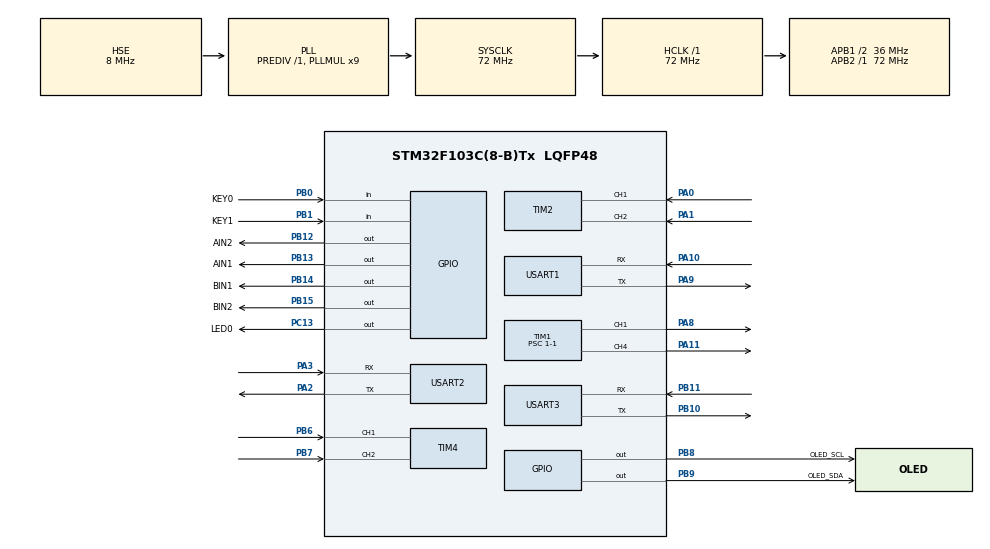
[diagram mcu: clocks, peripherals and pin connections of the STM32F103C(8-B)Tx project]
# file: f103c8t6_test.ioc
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Mcu.Family=STM32F1
Mcu.Name=STM32F103C(8-B)Tx
Mcu.Package=LQFP48
NVIC.PriorityGroup=NVIC_PRIORITYGROUP_2
NVIC.TIM2_IRQn=true\:3\:0\:true\:false\:true\:true\:true\:true
NVIC.TIM3_IRQn=true\:1\:0\:true\:false\:true\:true\:true\:true
NVIC.TIM4_IRQn=true\:3\:0\:true\:false\:true\:true\:true\:true
NVIC.USART1_IRQn=true\:2\:0\:true\:false\:true\:true\:true\:true
NVIC.USART2_IRQn=true\:2\:0\:true\:false\:true\:true\:true\:true
NVIC.USART3_IRQn=true\:2\:0\:true\:false\:true\:true\:true\:true
PA0-WKUP.GPIO_PuPd=GPIO_NOPULL
PA0-WKUP.Signal=S_TIM2_CH1_ETR
PA1.Signal=S_TIM2_CH2
PA10.Mode=Asynchronous
PA10.Signal=USART1_RX
PA11.Signal=S_TIM1_CH4
PA13.Mode=Serial_Wire
PA13.Signal=SYS_JTMS-SWDIO
PA14.Mode=Serial_Wire
PA14.Signal=SYS_JTCK-SWCLK
PA2.Mode=Asynchronous
PA2.Signal=USART2_TX
PA3.Mode=Asynchronous
PA3.Signal=USART2_RX
PA8.Signal=S_TIM1_CH1
PA9.Mode=Asynchronous
PA9.Signal=USART1_TX
PB0.GPIO_Label=KEY0
PB0.GPIO_PuPd=GPIO_PULLUP
PB0.Signal=GPIO_Input
PB1.GPIO_Label=KEY1
PB1.GPIO_PuPd=GPIO_PULLUP
PB1.Signal=GPIO_Input
PB10.Mode=Asynchronous
PB10.Signal=USART3_TX
PB11.Mode=Asynchronous
PB11.Signal=USART3_RX
PB12.GPIO_Label=AIN2
PB12.Signal=GPIO_Output
PB13.GPIO_Label=AIN1
PB13.Signal=GPIO_Output
PB14.GPIO_Label=BIN1
PB14.Signal=GPIO_Output
PB15.GPIO_Label=BIN2
PB15.Signal=GPIO_Output
PB6.Signal=S_TIM4_CH1
PB7.Signal=S_TIM4_CH2
PB8.GPIO_Label=OLED_SCL
PB8.GPIO_ModeDefaultOutputPP=GPIO_MODE_OUTPUT_OD
PB8.GPIO_PuPd=GPIO_NOPULL
PB8.GPIO_Speed=GPIO_SPEED_FREQ_HIGH
PB8.PinState=GPIO_PIN_RESET
PB8.Signal=GPIO_Output
PB9.GPIO_Label=OLED_SDA
PB9.GPIO_ModeDefaultOutputPP=GPIO_MODE_OUTPUT_OD
PB9.GPIO_PuPd=GPIO_NOPULL
PB9.Signal=GPIO_Output
PC13-TAMPER-RTC.GPIO_Label=LED0
PC13-TAMPER-RTC.PinState=GPIO_PIN_SET
PC13-TAMPER-RTC.Signal=GPIO_Output
PD0-OSC_IN.Mode=HSE-External-Oscillator
PD0-OSC_IN.Signal=RCC_OSC_IN
PD1-OSC_OUT.Mode=HSE-External-Oscillator
PD1-OSC_OUT.Signal=RCC_OSC_OUT
ProjectManager.HeapSize=0x200
ProjectManager.StackSize=0x400
ProjectManager.TargetToolchain=MDK-ARM V5.32
RCC.AHBFreq_Value=72000000
RCC.APB1CLKDivider=RCC_HCLK_DIV2
RCC.APB1Freq_Value=36000000
RCC.APB1TimFreq_Value=72000000
RCC.APB2Freq_Value=72000000
RCC.APB2TimFreq_Value=72000000
RCC.HCLKFreq_Value=72000000
RCC.PLLMUL=RCC_PLL_MUL9
RCC.PLLSourceVirtual=RCC_PLLSOURCE_HSE
RCC.SYSCLKFreq_VALUE=72000000
RCC.SYSCLKSource=RCC_SYSCLKSOURCE_PLLCLK
RCC.USBFreq_Value=72000000
SH.S_TIM1_CH1.0=TIM1_CH1,PWM Generation1 CH1
SH.S_TIM1_CH4.0=TIM1_CH4,PWM Generation4 CH4
SH.S_TIM2_CH1_ETR.0=TIM2_CH1,Encoder_Interface
SH.S_TIM2_CH2.0=TIM2_CH2,Encoder_Interface
SH.S_TIM4_CH1.0=TIM4_CH1,Encoder_Interface
SH.S_TIM4_CH2.0=TIM4_CH2,Encoder_Interface
TIM1.AutoReloadPreload=TIM_AUTORELOAD_PRELOAD_ENABLE
TIM1.Channel-PWM\ Generation1\ CH1=TIM_CHANNEL_1
TIM1.Channel-PWM\ Generation4\ CH4=TIM_CHANNEL_4
TIM1.Period=7200-1
TIM1.Prescaler=1-1
TIM2.EncoderMode=TIM_ENCODERMODE_TI12
TIM3.Period=200-1
TIM3.Prescaler=7200-1
TIM4.EncoderMode=TIM_ENCODERMODE_TI12
USART1.VirtualMode=VM_ASYNC
USART2.VirtualMode=VM_ASYNC
USART3.VirtualMode=VM_ASYNC
VP_TIM3_VS_ClockSourceINT.Mode=Internal
board=custom

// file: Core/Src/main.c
/* USER CODE BEGIN Header */
/**
  ******************************************************************************
  * @file           : main.c
  * @brief          : Main program body
  ******************************************************************************
  * @attention
  *
  * Copyright (c) 2024 STMicroelectronics.
  * All rights reserved.
  *
  * This software is licensed under terms that can be found in the LICENSE file
  * in the root directory of this software component.
  * If no LICENSE file comes with this software, it is provided AS-IS.
  *
  ******************************************************************************
  */
/* USER CODE END Header */
#include "main.h"
#include "tim.h"
#include "usart.h"
#include "gpio.h"

/* USER CODE BEGIN Includes */
#include "oled.h"
#include "bmp.h"
#include "encoder.h"
#include "motor.h"
#include "pid.h"
#include "control.h"

/* USER CODE END Includes */

/* USER CODE BEGIN PM */
uint8_t oledstring[50];
uint8_t usart1string[50];

/* USER CODE END PM */

void SystemClock_Config(void);

int main(void)
{

  /* MCU Configuration--------------------------------------------------------*/

  /* Reset of all peripherals, Initializes the Flash interface and the Systick. */
  HAL_Init();

  /* Configure the system clock */
  SystemClock_Config();

  /* Initialize all configured peripherals */
  MX_GPIO_Init();
  MX_TIM1_Init();
  MX_TIM2_Init();
  MX_TIM4_Init();
  MX_TIM3_Init();
  MX_USART1_UART_Init();
  MX_USART2_UART_Init();
  MX_USART3_UART_Init();
  /* USER CODE BEGIN 2 */

  HAL_TIM_Encoder_Start(&htim2,TIM_CHANNEL_ALL);//开启定时器2 编码器模式
  HAL_TIM_Encoder_Start(&htim4,TIM_CHANNEL_ALL);//开启定时器4 编码器模式
  HAL_TIM_Base_Start_IT(&htim2);                //开启定时器2 中断
  HAL_TIM_Base_Start_IT(&htim4);                //开启定时器4 中断

  set_motor1_enable();
  set_motor2_enable();

  HAL_TIM_PWM_Start(&htim1,TIM_CHANNEL_4);//开启定时器1 通道4 PWM输出
  HAL_TIM_PWM_Start(&htim1,TIM_CHANNEL_1);//开启定时器1 通道1 PWM输出

  HAL_TIM_Base_Start_IT(&htim3); //开启定时器3中断

  OLED_Init(); //OLED初始化
  OLED_ColorTurn(0);//0正常显示，1 反色显示
  OLED_DisplayTurn(0);//0正常显示 1 屏幕翻转显示

  g_motor1_pwm = 7000;
  g_motor2_pwm = 7000;
  limit_motor_pwm(&g_motor1_pwm,&g_motor2_pwm);
  load_motor_pwm(g_motor1_pwm,g_motor2_pwm);

  /* USER CODE END 2 */

  /* Infinite loop */
  /* USER CODE BEGIN WHILE */
  while (1)
  {
      sprintf((char *)oledstring,"motor1:%d",g_unittime_motor1pluse);//显示单位时间脉冲数
      OLED_ShowString(0,0,oledstring,8,1);  //显示在OLED上
      sprintf((char *)oledstring,"jour1:%.2f",g_motor1_journey_cm);//显示总里程数
      OLED_ShowString(0,8,oledstring,8,1);  //显示在OLED上

      sprintf((char *)oledstring,"motor2:%d",g_unittime_motor2pluse);//显示单位时间脉冲数
      OLED_ShowString(0,16,oledstring,8,1);  //显示在OLED上
      sprintf((char *)oledstring,"jour2:%.2f",g_motor2_journey_cm);//显示总里程数
      OLED_ShowString(0,24,oledstring,8,1);  //显示在OLED上

      OLED_Refresh();

      HAL_Delay(20);

      HAL_GPIO_TogglePin(LED0_GPIO_Port,LED0_Pin);
    /* USER CODE END WHILE */

  }
}

void SystemClock_Config(void)
{
  RCC_OscInitTypeDef RCC_OscInitStruct = {0};
  RCC_ClkInitTypeDef RCC_ClkInitStruct = {0};

  /** Initializes the RCC Oscillators according to the specified parameters
  * in the RCC_OscInitTypeDef structure.
  */
  RCC_OscInitStruct.OscillatorType = RCC_OSCILLATORTYPE_HSE;
  RCC_OscInitStruct.HSEState = RCC_HSE_ON;
  RCC_OscInitStruct.HSEPredivValue = RCC_HSE_PREDIV_DIV1;
  RCC_OscInitStruct.HSIState = RCC_HSI_ON;
  RCC_OscInitStruct.PLL.PLLState = RCC_PLL_ON;
  RCC_OscInitStruct.PLL.PLLSource = RCC_PLLSOURCE_HSE;
  RCC_OscInitStruct.PLL.PLLMUL = RCC_PLL_MUL9;
  if (HAL_RCC_OscConfig(&RCC_OscInitStruct) != HAL_OK)
  {
    Error_Handler();
  }

  /** Initializes the CPU, AHB and APB buses clocks
  */
  RCC_ClkInitStruct.ClockType = RCC_CLOCKTYPE_HCLK|RCC_CLOCKTYPE_SYSCLK
                              |RCC_CLOCKTYPE_PCLK1|RCC_CLOCKTYPE_PCLK2;
  RCC_ClkInitStruct.SYSCLKSource = RCC_SYSCLKSOURCE_PLLCLK;
  RCC_ClkInitStruct.AHBCLKDivider = RCC_SYSCLK_DIV1;
  RCC_ClkInitStruct.APB1CLKDivider = RCC_HCLK_DIV2;
  RCC_ClkInitStruct.APB2CLKDivider = RCC_HCLK_DIV1;

  if (HAL_RCC_ClockConfig(&RCC_ClkInitStruct, FLASH_LATENCY_2) != HAL_OK)
  {
    Error_Handler();
  }
}

void Error_Handler(void)
{
  __disable_irq();
  while (1)
  {
  }
}
